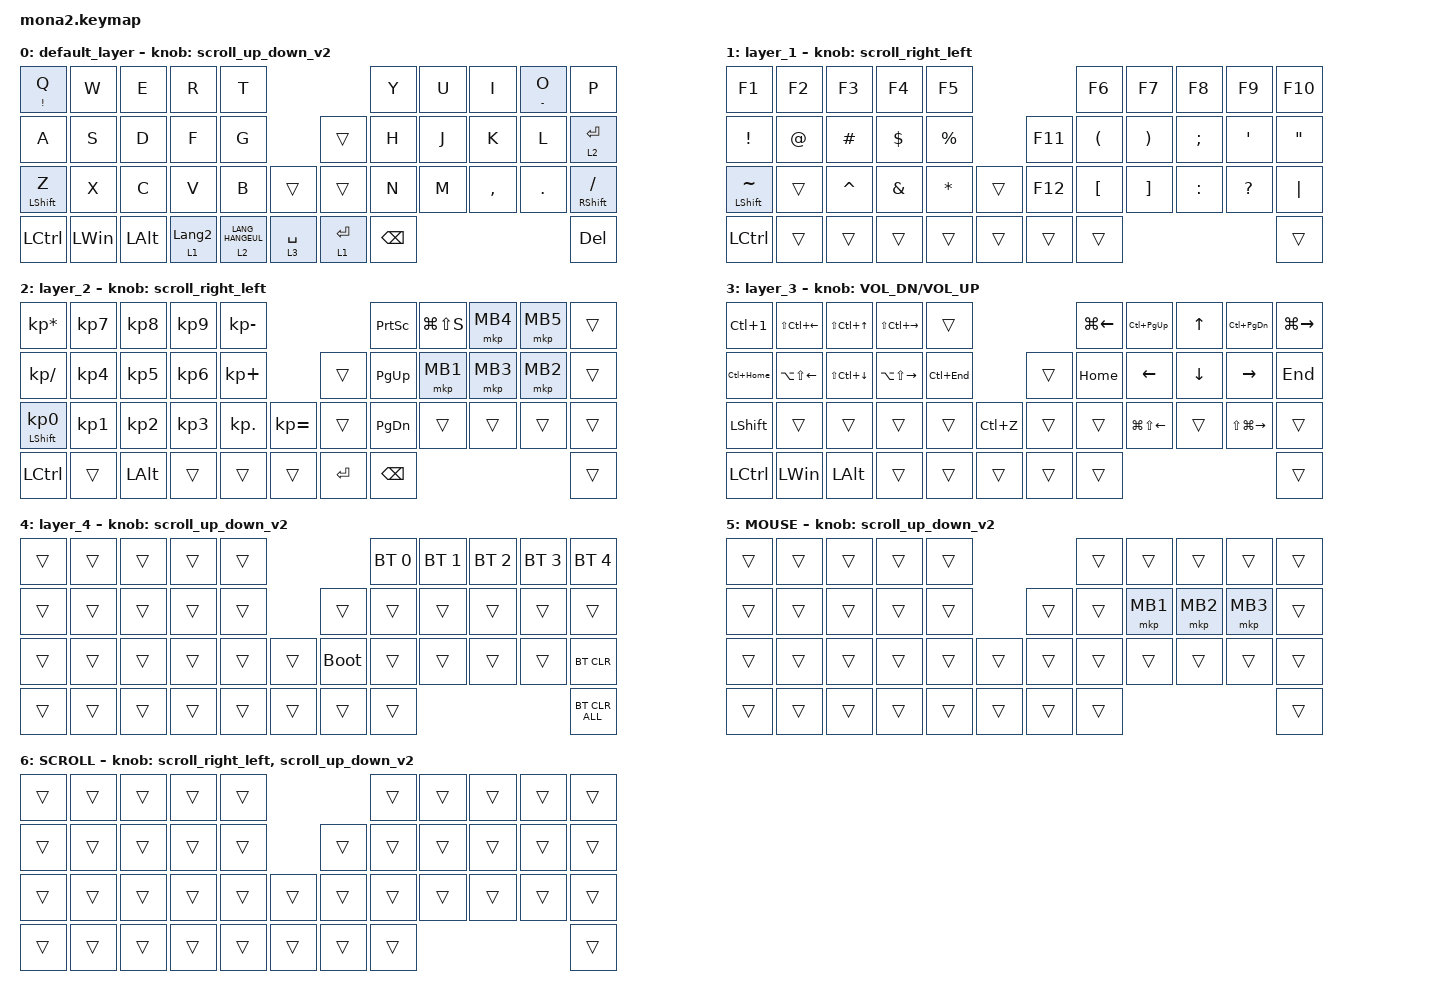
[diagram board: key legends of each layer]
#include <input/processors.dtsi>
#include <dt-bindings/zmk/input_transform.h>
#include <zephyr/dt-bindings/input/input-event-codes.h>
#include <behaviors.dtsi>
#include <dt-bindings/zmk/bt.h>
#include <dt-bindings/zmk/keys.h>
#include <dt-bindings/zmk/pointing.h>

#define ZMK_POINTING_DEFAULT_SCRL_VAL 100
#define MOUSE 5
#define SCROLL 6

&mt {
    flavor = "balanced";
    quick-tap-ms = <0>;
};

&lt {
    quick-tap-ms = <300>;
    flavor = "balanced";
};

/ {
    combos {
        compatible = "zmk,combos";

        layer4_ESC {
            bindings = <&lt 4 ESC>;
            key-positions = <39 38>;
        };

        tab {
            bindings = <&kp TAB>;
            key-positions = <11 12>;
        };
    };

    macros {
        to_layer_0: to_layer_0 {
            compatible = "zmk,behavior-macro-one-param";
            #binding-cells = <1>;
            bindings = <&to 0 &macro_param_1to1 &kp MACRO_PLACEHOLDER>;
            label = "TO_LAYER_0";
        };
    };

    behaviors {
        lt_to_layer_0: lt_to_layer_0 {
            compatible = "zmk,behavior-hold-tap";
            label = "LAYER_TAP_TO_0";
            bindings = <&mo>, <&to_layer_0>;

            #binding-cells = <2>;
            tapping-term-ms = <200>;
        };

        scroll_up_down: mouse_wheel_up_down {
            compatible = "zmk,behavior-sensor-rotate";
            #sensor-binding-cells = <0>;
            bindings = <&msc SCRL_DOWN>, <&msc SCRL_UP>;

            tap-ms = <20>;
        };

        scroll_right_left: mouse_wheel_right_left {
            compatible = "zmk,behavior-sensor-rotate";
            #sensor-binding-cells = <0>;
            bindings = <&msc SCRL_LEFT>, <&msc SCRL_RIGHT>;

            tap-ms = <20>;
        };

        scroll_up_down_v2: mouse_wheel_up_down_v2 {
            compatible = "zmk,behavior-sensor-rotate";
            #sensor-binding-cells = <0>;
            bindings = <&msc SCRL_UP>, <&msc SCRL_DOWN>;

            tap-ms = <20>;
        };
    };

    keymap {
        compatible = "zmk,keymap";

        default_layer {
            bindings = <
&mt EXCLAMATION Q  &kp W         &kp E         &kp R             &kp T                                           &kp Y          &kp U  &kp I      &mt MINUS O  &kp P
&kp A              &kp S         &kp D         &kp F             &kp G                              &trans       &kp H          &kp J  &kp K      &kp L        &lt 2 ENTER
&mt LEFT_SHIFT Z   &kp X         &kp C         &kp V             &kp B               &trans         &trans       &kp N          &kp M  &kp COMMA  &kp DOT      &mt RIGHT_SHIFT SLASH
&kp LCTRL          &kp LEFT_WIN  &kp LEFT_ALT  &lt 1 LANGUAGE_2  &lt 2 LANG_HANGEUL  &lt 3 SPACE    &lt 1 ENTER  &kp BACKSPACE                                 &kp DELETE
            >;

            sensor-bindings = <&scroll_up_down_v2>;
        };

        layer_1 {
            bindings = <
&kp F1                &kp F2       &kp F3     &kp F4         &kp F5                           &kp F6                &kp F7                 &kp F8         &kp F9        &kp F10
&kp EXCLAMATION       &kp AT_SIGN  &kp HASH   &kp DOLLAR     &kp PERCENT             &kp F11  &kp LEFT_PARENTHESIS  &kp RIGHT_PARENTHESIS  &kp SEMICOLON  &kp SQT       &kp DOUBLE_QUOTES
&mt LEFT_SHIFT TILDE  &trans       &kp CARET  &kp AMPERSAND  &kp ASTERISK  &trans    &kp F12  &kp LEFT_BRACKET      &kp RIGHT_BRACKET      &kp COLON      &kp QUESTION  &kp PIPE
&kp LEFT_CONTROL      &trans       &trans     &trans         &trans        &trans    &trans   &trans                                                                    &trans
            >;

            sensor-bindings = <&scroll_right_left>;
        };

        layer_2 {
            bindings = <
&kp KP_ASTERISK             &kp KP_NUMBER_7  &kp KP_NUMBER_8  &kp KP_NUMBER_9  &kp KP_MINUS                             &kp PRINTSCREEN  &kp LG(LS(S))  &mkp MB4  &mkp MB5  &trans
&kp KP_SLASH                &kp KP_NUMBER_4  &kp KP_NUMBER_5  &kp KP_NUMBER_6  &kp KP_PLUS                   &trans     &kp PAGE_UP      &mkp MB1       &mkp MB3  &mkp MB2  &trans
&mt LEFT_SHIFT KP_NUMBER_0  &kp KP_NUMBER_1  &kp KP_NUMBER_2  &kp KP_NUMBER_3  &kp KP_DOT    &kp KP_EQUAL    &trans     &kp PAGE_DOWN    &trans         &trans    &trans    &trans
&kp LEFT_CONTROL            &trans           &kp LEFT_ALT     &trans           &trans        &trans          &kp ENTER  &kp BACKSPACE                                       &trans
            >;

            sensor-bindings = <&scroll_right_left>;
        };

        layer_3 {
            bindings = <
&kp LC(N1)        &kp LS(LC(LEFT_ARROW))  &kp LS(LC(UP_ARROW))    &kp LS(LC(RIGHT_ARROW))  &trans                            &kp LG(LEFT_ARROW)  &kp LC(PAGE_UP)         &kp UP_ARROW    &kp LC(PAGE_DOWN)        &kp LG(RIGHT_ARROW)
&kp LC(HOME)      &kp LA(LS(LEFT_ARROW))  &kp LS(LC(DOWN_ARROW))  &kp LA(LS(RIGHT_ARROW))  &kp LC(END)               &trans  &kp HOME            &kp LEFT_ARROW          &kp DOWN_ARROW  &kp RIGHT_ARROW          &kp END
&kp LEFT_SHIFT    &trans                  &trans                  &trans                   &trans       &kp LC(Z)    &trans  &trans              &kp LG(LS(LEFT_ARROW))  &trans          &kp LS(LG(RIGHT_ARROW))  &trans
&kp LEFT_CONTROL  &kp LEFT_WIN            &kp LEFT_ALT            &trans                   &trans       &trans       &trans  &trans                                                                               &trans
            >;

            sensor-bindings = <&inc_dec_kp C_VOL_DN C_VOL_UP>;
        };

        layer_4 {
            bindings = <
&trans  &trans  &trans  &trans  &trans                         &bt BT_SEL 0  &bt BT_SEL 1  &bt BT_SEL 2  &bt BT_SEL 3  &bt BT_SEL 4
&trans  &trans  &trans  &trans  &trans            &trans       &trans        &trans        &trans        &trans        &trans
&trans  &trans  &trans  &trans  &trans  &trans    &bootloader  &trans        &trans        &trans        &trans        &bt BT_CLR
&trans  &trans  &trans  &trans  &trans  &trans    &trans       &trans                                                  &bt BT_CLR_ALL
            >;

            sensor-bindings = <&scroll_up_down_v2>;
        };

        MOUSE {
            bindings = <
&trans  &trans  &trans  &trans  &trans                    &trans  &trans    &trans    &trans    &trans
&trans  &trans  &trans  &trans  &trans            &trans  &trans  &mkp MB1  &mkp MB2  &mkp MB3  &trans
&trans  &trans  &trans  &trans  &trans  &trans    &trans  &trans  &trans    &trans    &trans    &trans
&trans  &trans  &trans  &trans  &trans  &trans    &trans  &trans                                &trans
            >;

            sensor-bindings = <&scroll_up_down_v2>;
        };

        SCROLL {
            bindings = <
&trans  &trans  &trans  &trans  &trans                    &trans  &trans  &trans  &trans  &trans
&trans  &trans  &trans  &trans  &trans            &trans  &trans  &trans  &trans  &trans  &trans
&trans  &trans  &trans  &trans  &trans  &trans    &trans  &trans  &trans  &trans  &trans  &trans
&trans  &trans  &trans  &trans  &trans  &trans    &trans  &trans                          &trans
            >;

            sensor-bindings = <&scroll_right_left>, <&scroll_up_down_v2>;
        };
    };
};
